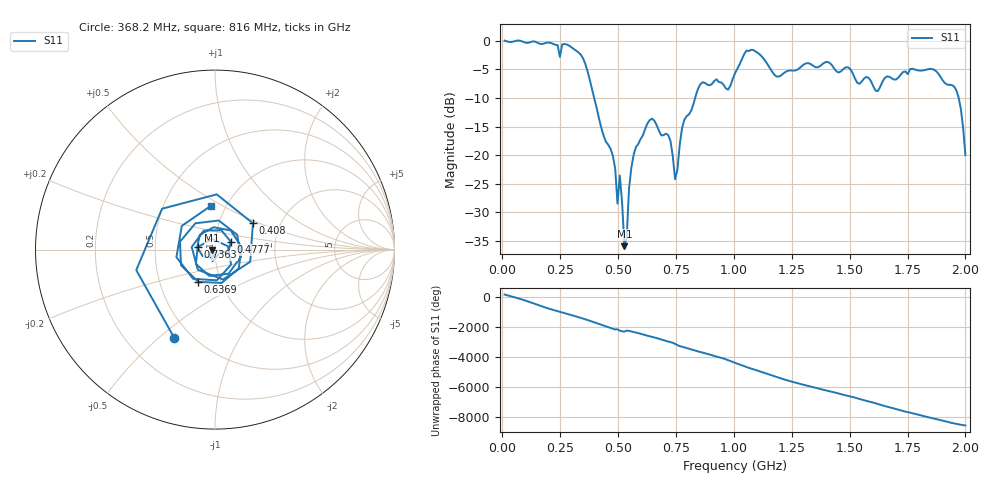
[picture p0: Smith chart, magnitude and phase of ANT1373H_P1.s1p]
!Created with skrf (http://scikit-rf.org).
# Hz S RI R 50.0
!freq ReS11 ImS11
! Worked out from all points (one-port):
!   201 points, 10 MHz to 2 GHz, reference 50 ohm
!   lowest |S11| = -35.9 dB at 527.4 MHz (marker M1), VSWR 1.03, Z = 48.5 - j0.479 ohm
!   |S11| at or under -10 dB: 396.7 MHz to 832.8 MHz (436.2 MHz wide, 71 % of centre); 1.971 GHz to end of sweep
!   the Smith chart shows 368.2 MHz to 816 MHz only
!   S11 on the Smith chart (normalised r, x): 368.2 MHz: 0.40, -0.56; 408 MHz: 1.45, +0.46; 477.6 MHz: 1.19, +0.10; 636.9 MHz: 0.78, -0.29; 736.4 MHz: 0.82, +0.02; 816 MHz: 0.85, +0.44
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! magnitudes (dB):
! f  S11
! 10 MHz  0.0
! 258.8 MHz  -0.6
! 368.2 MHz  -5.3
! 408 MHz  -11.8
! 477.6 MHz  -20.1
! 497.6 MHz  -28.5
! 507.5 MHz  -23.6
! 527.4 MHz  -35.9
! 567.2 MHz  -20.0
! 636.9 MHz  -13.9
! 716.5 MHz  -16.5
! 736.4 MHz  -20.2
! 746.3 MHz  -24.2
! 756.2 MHz  -22.6
! 776.1 MHz  -15.3
! 816 MHz  -12.2
! 865.7 MHz  -7.2
! 975.1 MHz  -8.6
! 1.005 GHz  -5.7
! 1.075 GHz  -1.6
! 1.184 GHz  -6.2
! 1.254 GHz  -5.2
! 1.502 GHz  -4.9
! 1.622 GHz  -8.8
! 1.751 GHz  -5.8
! 1.95 GHz  -7.9
! 1.98 GHz  -11.8
! 2 GHz  -20.0
